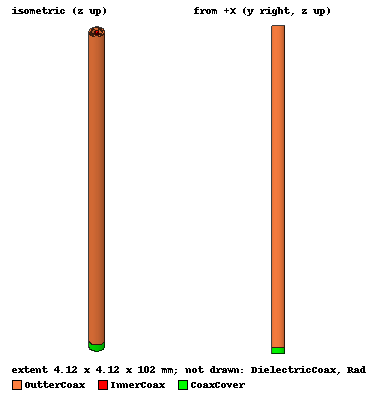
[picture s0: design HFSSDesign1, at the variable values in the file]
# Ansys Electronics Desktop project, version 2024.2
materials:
  vacuum: permittivity=1
  pec: conductivity=1e+30

design HFSSDesign1 (HFSS, HFSS Terminal Network, model units mm)
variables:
  TubingHeight = 200mm
  InnerCoaxDiameter = 1.12mm
  DielectricCoaxDiameter = 3mm
  WavePeriod = 1.09e-09s
  WireRadius = 1.2mm
  SpeedOfLight = 300000000m_per_sec
  OuterCoaxDiameter = 4.12mm
  RadiatingSurface_Y = 200mm
  RadiatingSurface_X = 300mm
  RadiatingSurface_Z = 200mm
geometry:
  InnerCoax [pec] = cylinder(axis=Z, base_centre=(0in, 0in, 0in), radius=InnerCoaxDiameter/2, height=TubingHeight/2)
  InnerCoax_1 = InnerCoax.copy()
  InnerCoax_2 = InnerCoax.copy()
  DielectricCoax [vacuum] = cylinder(axis=Z, base_centre=(0in, 0in, 0in), radius=DielectricCoaxDiameter/2, height=TubingHeight/2)
  DielectricCoax.subtract(InnerCoax_1)
  DielectricCoax_1 = DielectricCoax.copy()
  OutterCoax [pec] = cylinder(axis=Z, base_centre=(0in, 0in, 0in), radius=OuterCoaxDiameter/2, height=TubingHeight/2)
  OutterCoax.subtract(DielectricCoax_1, InnerCoax_2)
  CoaxCover [pec] = cylinder(axis=Z, base_centre=(0in, 0in, 0in), radius=OuterCoaxDiameter/2, height=-2mm)
  RadiatingSurface [vacuum] = box(corner=(-RadiatingSurface_X/2, -RadiatingSurface_Y/2, 0mm), size=(RadiatingSurface_X, RadiatingSurface_Y, RadiatingSurface_Z))
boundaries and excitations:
  Rad1: Radiation Objects=RadiatingSurface
  1: Wave Port Faces=DielectricCoax.face(-z end) WavePortType=Modal NumModes=1 Modes{Mode1{CharImp=Zpi}}
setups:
  Setup1: HfssDrivenAuto AutoSolverSetting=Balanced InfiniteSphereSetup=1 Type=Interpolating
    sweep Sweep: 0GHz to 10GHz, 501 points;
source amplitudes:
  1:1: 1V 0deg
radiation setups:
  Infinite Sphere1: Infinite Sphere Theta=0deg..180deg step 2deg Phi=-180deg..180deg step 2deg
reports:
  Gain Plot 1: dB(GainTotal) vs Phi, Theta on Setup1 : LastAdaptive, Infinite Sphere1 [Freq=5.5GHz]
